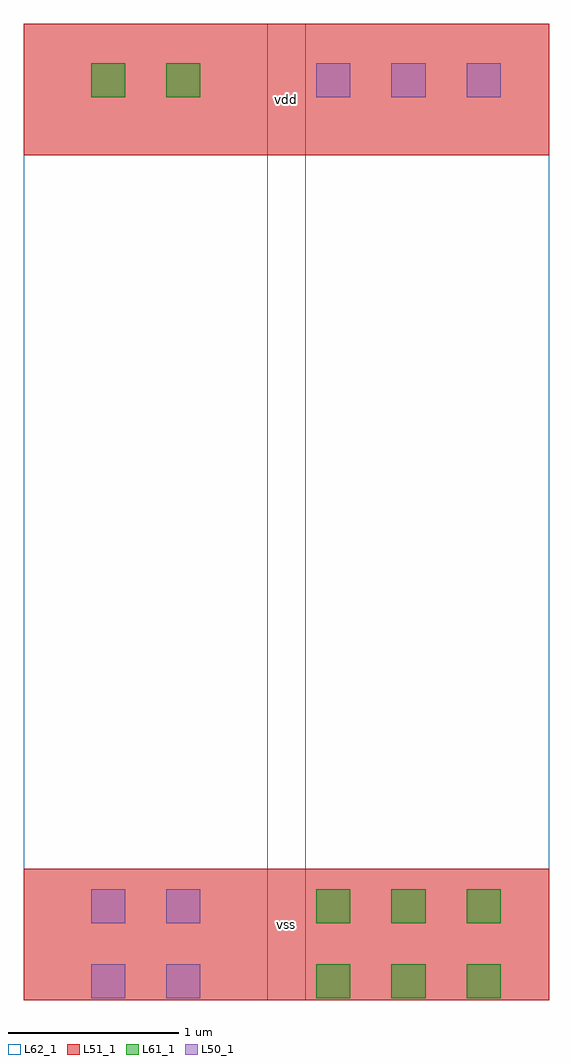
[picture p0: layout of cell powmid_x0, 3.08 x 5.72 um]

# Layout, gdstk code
import gdstk
lib = gdstk.Library(unit=1e-6, precision=1e-09)
def R(c, l, rs):  # rectangles x0, y0, x1, y1
    for r in rs: c.add(gdstk.rectangle(r[:2], r[2:], *l))
def A(c, l, x, y, w, h, nx, ny, dx, dy):  # array of equal rectangles
    R(c, l, [(x+i*dx, y+j*dy, x+i*dx+w, y+j*dy+h) for i in range(nx) for j in range(ny)])
L50_1 = (50, 1)
L51_1 = (51, 1)
L61_1 = (61, 1)
L62_1 = (62, 1)

powmid_x0 = lib.new_cell('powmid_x0')
A(powmid_x0, L50_1, 2.1, 5.18, 0.2, 0.2, 3, 1, 0.44, 0)
R(powmid_x0, L50_1, [(0.78,-0.1,0.98,0.1), (1.22,-0.1,1.42,0.1), (0.78,0.34,0.98,0.54), (1.22,0.34,1.42,0.54)])
R(powmid_x0, L51_1, [(0.385,-0.11,3.465,0.66), (0.385,4.84,3.465,5.61)])
A(powmid_x0, L61_1, 2.1, -0.1, 0.2, 0.2, 3, 2, 0.44, 0.44)
R(powmid_x0, L61_1, [(0.78,5.18,0.98,5.38), (1.22,5.18,1.42,5.38)])
R(powmid_x0, L62_1, [(0.385,-0.11,1.815,5.61), (2.035,-0.11,3.465,5.61)])
powmid_x0.add(gdstk.Label('vss', (1.925,0.33), layer=49, texttype=1))
powmid_x0.add(gdstk.Label('vdd', (1.925,5.17), layer=49, texttype=1))
powmid_x0.add(gdstk.Label('vss', (1.925,0.33), layer=51, texttype=1))
powmid_x0.add(gdstk.Label('vdd', (1.925,5.17), layer=51, texttype=1))

lib.write_gds('powmid_x0.gds')
